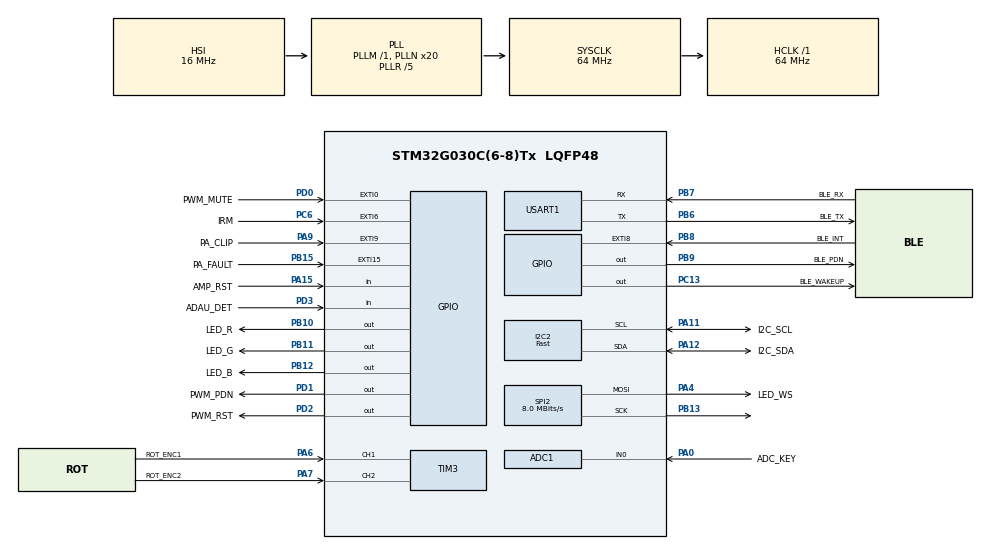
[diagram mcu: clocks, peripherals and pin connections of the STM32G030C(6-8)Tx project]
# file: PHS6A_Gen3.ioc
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ADC1.Channel-0\#ChannelRegularConversion=ADC_CHANNEL_0
ADC1.ContinuousConvMode=ENABLE
ADC1.NbrOfConversionFlag=1
ADC1.Rank-0\#ChannelRegularConversion=1
ADC1.SamplingTime-0\#ChannelRegularConversion=ADC_SAMPLINGTIME_COMMON_1
ADC1.SelectedChannel=ADC_CHANNEL_0
ADC1.master=1
Dma.Request0=SPI2_TX
Dma.SPI2_TX.0.Direction=DMA_MEMORY_TO_PERIPH
Dma.SPI2_TX.0.EventEnable=DISABLE
Dma.SPI2_TX.0.Instance=DMA1_Channel1
Dma.SPI2_TX.0.MemDataAlignment=DMA_MDATAALIGN_BYTE
Dma.SPI2_TX.0.MemInc=DMA_MINC_ENABLE
Dma.SPI2_TX.0.Mode=DMA_NORMAL
Dma.SPI2_TX.0.PeriphDataAlignment=DMA_PDATAALIGN_BYTE
Dma.SPI2_TX.0.PeriphInc=DMA_PINC_DISABLE
Dma.SPI2_TX.0.Polarity=HAL_DMAMUX_REQ_GEN_RISING
Dma.SPI2_TX.0.Priority=DMA_PRIORITY_LOW
Dma.SPI2_TX.0.RequestNumber=1
Dma.SPI2_TX.0.SignalID=NONE
Dma.SPI2_TX.0.SyncEnable=DISABLE
Dma.SPI2_TX.0.SyncPolarity=HAL_DMAMUX_SYNC_NO_EVENT
Dma.SPI2_TX.0.SyncRequestNumber=1
Dma.SPI2_TX.0.SyncSignalID=NONE
I2C2.I2C_Speed_Mode=I2C_Fast
I2C2.Speed=300
I2C2.Timing=0x006021A8
Mcu.Family=STM32G0
Mcu.Name=STM32G030C(6-8)Tx
Mcu.Package=LQFP48
NVIC.DMA1_Channel1_IRQn=true\:0\:0\:false\:false\:true\:false\:true\:true
NVIC.EXTI4_15_IRQn=true\:0\:0\:false\:false\:true\:true\:true\:true
NVIC.TIM1_BRK_UP_TRG_COM_IRQn=true\:0\:0\:false\:false\:true\:true\:true\:true
NVIC.TIM3_IRQn=true\:0\:0\:false\:false\:true\:true\:true\:true
NVIC.USART1_IRQn=true\:0\:0\:false\:false\:true\:true\:true\:true
PA0.GPIO_Label=ADC_KEY
PA0.Mode=IN0
PA0.Signal=ADC1_IN0
PA11\ [PA9].GPIO_Label=I2C_SCL
PA11\ [PA9].Mode=I2C
PA11\ [PA9].Signal=I2C2_SCL
PA12\ [PA10].GPIO_Label=I2C_SDA
PA12\ [PA10].Mode=I2C
PA12\ [PA10].Signal=I2C2_SDA
PA13.Mode=Serial_Wire
PA13.Signal=SYS_SWDIO
PA14-BOOT0.Mode=Serial_Wire
PA14-BOOT0.Signal=SYS_SWCLK
PA15.GPIO_Label=AMP_RST
PA15.Signal=GPIO_Input
PA4.GPIO_Label=LED_WS
PA4.Mode=TX_Only_Simplex_Unidirect_Master
PA4.Signal=SPI2_MOSI
PA6.GPIO_Label=ROT_ENC1
PA6.Signal=S_TIM3_CH1
PA7.GPIO_Label=ROT_ENC2
PA7.Signal=S_TIM3_CH2
PA9.GPIO_Label=PA_CLIP
PA9.Signal=GPXTI9
PB10.GPIO_Label=LED_R
PB10.Signal=GPIO_Output
PB11.GPIO_Label=LED_G
PB11.Signal=GPIO_Output
PB12.GPIO_Label=LED_B
PB12.Signal=GPIO_Output
PB13.Mode=TX_Only_Simplex_Unidirect_Master
PB13.Signal=SPI2_SCK
PB15.GPIO_Label=PA_FAULT
PB15.Signal=GPXTI15
PB6.GPIO_Label=BLE_TX
PB6.Mode=Asynchronous
PB6.Signal=USART1_TX
PB7.GPIO_Label=BLE_RX
PB7.Mode=Asynchronous
PB7.Signal=USART1_RX
PB8.GPIO_Label=BLE_INT
PB8.Signal=GPXTI8
PB9.GPIO_Label=BLE_PDN
PB9.Signal=GPIO_Output
PC13.GPIO_Label=BLE_WAKEUP
PC13.Signal=GPIO_Output
PC6.GPIO_Label=IRM
PC6.GPIO_ModeDefaultEXTI=GPIO_MODE_IT_FALLING
PC6.Signal=GPXTI6
PD0.GPIO_Label=PWM_MUTE
PD0.Signal=GPXTI0
PD1.GPIO_Label=PWM_PDN
PD1.Signal=GPIO_Output
PD2.GPIO_Label=PWM_RST
PD2.Signal=GPIO_Output
PD3.GPIO_Label=ADAU_DET
PD3.Signal=GPIO_Input
ProjectManager.HeapSize=0x200
ProjectManager.StackSize=0x400
ProjectManager.TargetToolchain=MDK-ARM V5
RCC.ADCFreq_Value=64000000
RCC.AHBFreq_Value=64000000
RCC.CortexFreq_Value=64000000
RCC.EXTERNAL_CLOCK_VALUE=12288000
RCC.HCLKFreq_Value=64000000
RCC.HSE_VALUE=8000000
RCC.HSI_VALUE=16000000
RCC.LSE_VALUE=32768
RCC.PLLN=20
RCC.PLLR=RCC_PLLR_DIV5
RCC.SYSCLKFreq_VALUE=64000000
RCC.SYSCLKSource=RCC_SYSCLKSOURCE_PLLCLK
RCC.VCOOutputFreq_Value=320000000
SH.S_TIM3_CH1.0=TIM3_CH1,Encoder_Interface
SH.S_TIM3_CH2.0=TIM3_CH2,Encoder_Interface
SPI2.BaudRatePrescaler=SPI_BAUDRATEPRESCALER_8
SPI2.CLKPolarity=SPI_POLARITY_HIGH
SPI2.CalculateBaudRate=8.0 MBits/s
SPI2.Direction=SPI_DIRECTION_2LINES
SPI2.Mode=SPI_MODE_MASTER
SPI2.VirtualType=VM_MASTER
TIM1.Period=19999
TIM1.Prescaler=31
TIM16.Prescaler=63
TIM3.EncoderMode=TIM_ENCODERMODE_TI12
TIM3.IC2Polarity=TIM_ICPOLARITY_FALLING
USART1.VirtualMode-Asynchronous=VM_ASYNC
VP_TIM16_VS_ClockSourceINT.Mode=Enable_Timer
VP_TIM1_VS_ClockSourceINT.Mode=Internal
board=custom

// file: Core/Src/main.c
/* USER CODE BEGIN Header */
/**
  ******************************************************************************
  * @file           : main.c
  * @brief          : Main program body
  ******************************************************************************
  * @attention
  *
  * Copyright (c) 2024 STMicroelectronics.
  * All rights reserved.
  *
  * This software is licensed under terms that can be found in the LICENSE file
  * in the root directory of this software component.
  * If no LICENSE file comes with this software, it is provided AS-IS.
  *
  ******************************************************************************
  */
/* USER CODE END Header */
#include "main.h"

/* USER CODE BEGIN Includes */
#include "type.h"
#include "system.h"
#include "input_process.h"
#include "bt4502.h"
#include "remote.h"
/* USER CODE END Includes */

ADC_HandleTypeDef hadc1;

I2C_HandleTypeDef hi2c2;

SPI_HandleTypeDef hspi2;
DMA_HandleTypeDef hdma_spi2_tx;

TIM_HandleTypeDef htim1;
TIM_HandleTypeDef htim3;
TIM_HandleTypeDef htim16;

UART_HandleTypeDef huart1;

void SystemClock_Config(void);
static void MX_GPIO_Init(void);
static void MX_DMA_Init(void);
static void MX_SPI2_Init(void);
static void MX_TIM3_Init(void);
static void MX_TIM16_Init(void);
static void MX_ADC1_Init(void);
static void MX_I2C2_Init(void);
static void MX_USART1_UART_Init(void);
static void MX_TIM1_Init(void);

/* USER CODE BEGIN 0 */
extern uint8_t	bSystem_tasktick;
bool ledOnOff = 0;
uint8_t counterQ = 0;

/* USER CODE END 0 */

int main(void)
{

  /* MCU Configuration--------------------------------------------------------*/

  /* Reset of all peripherals, Initializes the Flash interface and the Systick. */
  HAL_Init();

  /* Configure the system clock */
  SystemClock_Config();

  /* Initialize all configured peripherals */
  MX_GPIO_Init();
  MX_DMA_Init();
  MX_SPI2_Init();
  MX_TIM3_Init();
  MX_TIM16_Init();
  MX_ADC1_Init();
  MX_I2C2_Init();
  MX_USART1_UART_Init();
  MX_TIM1_Init();

  /* Infinite loop */
  /* USER CODE BEGIN WHILE */
  bSystem_tasktick = MCUTICK_MS(20);
  while (1)
  {
    system_main();
    /* USER CODE END WHILE */

  }
}

void SystemClock_Config(void)
{
  RCC_OscInitTypeDef RCC_OscInitStruct = {0};
  RCC_ClkInitTypeDef RCC_ClkInitStruct = {0};

  /** Configure the main internal regulator output voltage
  */
  HAL_PWREx_ControlVoltageScaling(PWR_REGULATOR_VOLTAGE_SCALE1);

  /** Initializes the RCC Oscillators according to the specified parameters
  * in the RCC_OscInitTypeDef structure.
  */
  RCC_OscInitStruct.OscillatorType = RCC_OSCILLATORTYPE_HSI;
  RCC_OscInitStruct.HSIState = RCC_HSI_ON;
  RCC_OscInitStruct.HSIDiv = RCC_HSI_DIV1;
  RCC_OscInitStruct.HSICalibrationValue = RCC_HSICALIBRATION_DEFAULT;
  RCC_OscInitStruct.PLL.PLLState = RCC_PLL_ON;
  RCC_OscInitStruct.PLL.PLLSource = RCC_PLLSOURCE_HSI;
  RCC_OscInitStruct.PLL.PLLM = RCC_PLLM_DIV1;
  RCC_OscInitStruct.PLL.PLLN = 20;
  RCC_OscInitStruct.PLL.PLLP = RCC_PLLP_DIV2;
  RCC_OscInitStruct.PLL.PLLR = RCC_PLLR_DIV5;
  if (HAL_RCC_OscConfig(&RCC_OscInitStruct) != HAL_OK)
  {
    Error_Handler();
  }

  /** Initializes the CPU, AHB and APB buses clocks
  */
  RCC_ClkInitStruct.ClockType = RCC_CLOCKTYPE_HCLK|RCC_CLOCKTYPE_SYSCLK
                              |RCC_CLOCKTYPE_PCLK1;
  RCC_ClkInitStruct.SYSCLKSource = RCC_SYSCLKSOURCE_PLLCLK;
  RCC_ClkInitStruct.AHBCLKDivider = RCC_SYSCLK_DIV1;
  RCC_ClkInitStruct.APB1CLKDivider = RCC_HCLK_DIV1;

  if (HAL_RCC_ClockConfig(&RCC_ClkInitStruct, FLASH_LATENCY_2) != HAL_OK)
  {
    Error_Handler();
  }
}

static void MX_ADC1_Init(void)
{

  ADC_ChannelConfTypeDef sConfig = {0};

  /** Configure the global features of the ADC (Clock, Resolution, Data Alignment and number of conversion)
  */
  hadc1.Instance = ADC1;
  hadc1.Init.ClockPrescaler = ADC_CLOCK_SYNC_PCLK_DIV2;
  hadc1.Init.Resolution = ADC_RESOLUTION_12B;
  hadc1.Init.DataAlign = ADC_DATAALIGN_RIGHT;
  hadc1.Init.ScanConvMode = ADC_SCAN_DISABLE;
  hadc1.Init.EOCSelection = ADC_EOC_SINGLE_CONV;
  hadc1.Init.LowPowerAutoWait = DISABLE;
  hadc1.Init.LowPowerAutoPowerOff = DISABLE;
  hadc1.Init.ContinuousConvMode = ENABLE;
  hadc1.Init.NbrOfConversion = 1;
  hadc1.Init.ExternalTrigConv = ADC_SOFTWARE_START;
  hadc1.Init.ExternalTrigConvEdge = ADC_EXTERNALTRIGCONVEDGE_NONE;
  hadc1.Init.DMAContinuousRequests = DISABLE;
  hadc1.Init.Overrun = ADC_OVR_DATA_PRESERVED;
  hadc1.Init.SamplingTimeCommon1 = ADC_SAMPLETIME_1CYCLE_5;
  hadc1.Init.SamplingTimeCommon2 = ADC_SAMPLETIME_1CYCLE_5;
  hadc1.Init.OversamplingMode = DISABLE;
  hadc1.Init.TriggerFrequencyMode = ADC_TRIGGER_FREQ_HIGH;
  if (HAL_ADC_Init(&hadc1) != HAL_OK)
  {
    Error_Handler();
  }

  /** Configure Regular Channel
  */
  sConfig.Channel = ADC_CHANNEL_0;
  sConfig.Rank = ADC_REGULAR_RANK_1;
  sConfig.SamplingTime = ADC_SAMPLINGTIME_COMMON_1;
  if (HAL_ADC_ConfigChannel(&hadc1, &sConfig) != HAL_OK)
  {
    Error_Handler();
  }

}

static void MX_I2C2_Init(void)
{

  hi2c2.Instance = I2C2;
  hi2c2.Init.Timing = 0x006021A8;
  hi2c2.Init.OwnAddress1 = 0;
  hi2c2.Init.AddressingMode = I2C_ADDRESSINGMODE_7BIT;
  hi2c2.Init.DualAddressMode = I2C_DUALADDRESS_DISABLE;
  hi2c2.Init.OwnAddress2 = 0;
  hi2c2.Init.OwnAddress2Masks = I2C_OA2_NOMASK;
  hi2c2.Init.GeneralCallMode = I2C_GENERALCALL_DISABLE;
  hi2c2.Init.NoStretchMode = I2C_NOSTRETCH_DISABLE;
  if (HAL_I2C_Init(&hi2c2) != HAL_OK)
  {
    Error_Handler();
  }

  /** Configure Analogue filter
  */
  if (HAL_I2CEx_ConfigAnalogFilter(&hi2c2, I2C_ANALOGFILTER_ENABLE) != HAL_OK)
  {
    Error_Handler();
  }

  /** Configure Digital filter
  */
  if (HAL_I2CEx_ConfigDigitalFilter(&hi2c2, 0) != HAL_OK)
  {
    Error_Handler();
  }

}

static void MX_SPI2_Init(void)
{

  /* SPI2 parameter configuration*/
  hspi2.Instance = SPI2;
  hspi2.Init.Mode = SPI_MODE_MASTER;
  hspi2.Init.Direction = SPI_DIRECTION_2LINES;
  hspi2.Init.DataSize = SPI_DATASIZE_8BIT;
  hspi2.Init.CLKPolarity = SPI_POLARITY_HIGH;
  hspi2.Init.CLKPhase = SPI_PHASE_1EDGE;
  hspi2.Init.NSS = SPI_NSS_SOFT;
  hspi2.Init.BaudRatePrescaler = SPI_BAUDRATEPRESCALER_8;
  hspi2.Init.FirstBit = SPI_FIRSTBIT_MSB;
  hspi2.Init.TIMode = SPI_TIMODE_DISABLE;
  hspi2.Init.CRCCalculation = SPI_CRCCALCULATION_DISABLE;
  hspi2.Init.CRCPolynomial = 7;
  hspi2.Init.CRCLength = SPI_CRC_LENGTH_DATASIZE;
  hspi2.Init.NSSPMode = SPI_NSS_PULSE_ENABLE;
  if (HAL_SPI_Init(&hspi2) != HAL_OK)
  {
    Error_Handler();
  }

}

static void MX_TIM1_Init(void)
{

  TIM_ClockConfigTypeDef sClockSourceConfig = {0};
  TIM_MasterConfigTypeDef sMasterConfig = {0};

  htim1.Instance = TIM1;
  htim1.Init.Prescaler = 31;
  htim1.Init.CounterMode = TIM_COUNTERMODE_UP;
  htim1.Init.Period = 19999;
  htim1.Init.ClockDivision = TIM_CLOCKDIVISION_DIV1;
  htim1.Init.RepetitionCounter = 0;
  htim1.Init.AutoReloadPreload = TIM_AUTORELOAD_PRELOAD_DISABLE;
  if (HAL_TIM_Base_Init(&htim1) != HAL_OK)
  {
    Error_Handler();
  }
  sClockSourceConfig.ClockSource = TIM_CLOCKSOURCE_INTERNAL;
  if (HAL_TIM_ConfigClockSource(&htim1, &sClockSourceConfig) != HAL_OK)
  {
    Error_Handler();
  }
  sMasterConfig.MasterOutputTrigger = TIM_TRGO_RESET;
  sMasterConfig.MasterOutputTrigger2 = TIM_TRGO2_RESET;
  sMasterConfig.MasterSlaveMode = TIM_MASTERSLAVEMODE_DISABLE;
  if (HAL_TIMEx_MasterConfigSynchronization(&htim1, &sMasterConfig) != HAL_OK)
  {
    Error_Handler();
  }
  /* USER CODE BEGIN TIM1_Init 2 */
	HAL_NVIC_SetPriority(TIM1_BRK_UP_TRG_COM_IRQn, 1, 0);
	HAL_NVIC_EnableIRQ(TIM1_BRK_UP_TRG_COM_IRQn);

	HAL_TIM_Base_Start_IT(&htim1);

  /* USER CODE END TIM1_Init 2 */

}

static void MX_TIM3_Init(void)
{

  TIM_Encoder_InitTypeDef sConfig = {0};
  TIM_MasterConfigTypeDef sMasterConfig = {0};

  htim3.Instance = TIM3;
  htim3.Init.Prescaler = 0;
  htim3.Init.CounterMode = TIM_COUNTERMODE_UP;
  htim3.Init.Period = 65535;
  htim3.Init.ClockDivision = TIM_CLOCKDIVISION_DIV1;
  htim3.Init.AutoReloadPreload = TIM_AUTORELOAD_PRELOAD_DISABLE;
  sConfig.EncoderMode = TIM_ENCODERMODE_TI12;
  sConfig.IC1Polarity = TIM_ICPOLARITY_RISING;
  sConfig.IC1Selection = TIM_ICSELECTION_DIRECTTI;
  sConfig.IC1Prescaler = TIM_ICPSC_DIV1;
  sConfig.IC1Filter = 0;
  sConfig.IC2Polarity = TIM_ICPOLARITY_FALLING;
  sConfig.IC2Selection = TIM_ICSELECTION_DIRECTTI;
  sConfig.IC2Prescaler = TIM_ICPSC_DIV1;
  sConfig.IC2Filter = 0;
  if (HAL_TIM_Encoder_Init(&htim3, &sConfig) != HAL_OK)
  {
    Error_Handler();
  }
  sMasterConfig.MasterOutputTrigger = TIM_TRGO_RESET;
  sMasterConfig.MasterSlaveMode = TIM_MASTERSLAVEMODE_DISABLE;
  if (HAL_TIMEx_MasterConfigSynchronization(&htim3, &sMasterConfig) != HAL_OK)
  {
    Error_Handler();
  }

}

static void MX_TIM16_Init(void)
{

  htim16.Instance = TIM16;
  htim16.Init.Prescaler = 63;
  htim16.Init.CounterMode = TIM_COUNTERMODE_UP;
  htim16.Init.Period = 65535;
  htim16.Init.ClockDivision = TIM_CLOCKDIVISION_DIV1;
  htim16.Init.RepetitionCounter = 0;
  htim16.Init.AutoReloadPreload = TIM_AUTORELOAD_PRELOAD_DISABLE;
  if (HAL_TIM_Base_Init(&htim16) != HAL_OK)
  {
    Error_Handler();
  }

}

static void MX_USART1_UART_Init(void)
{

  huart1.Instance = USART1;
  huart1.Init.BaudRate = 115200;
  huart1.Init.WordLength = UART_WORDLENGTH_8B;
  huart1.Init.StopBits = UART_STOPBITS_1;
  huart1.Init.Parity = UART_PARITY_NONE;
  huart1.Init.Mode = UART_MODE_TX_RX;
  huart1.Init.HwFlowCtl = UART_HWCONTROL_NONE;
  huart1.Init.OverSampling = UART_OVERSAMPLING_16;
  huart1.Init.OneBitSampling = UART_ONE_BIT_SAMPLE_DISABLE;
  huart1.Init.ClockPrescaler = UART_PRESCALER_DIV1;
  huart1.AdvancedInit.AdvFeatureInit = UART_ADVFEATURE_NO_INIT;
  if (HAL_UART_Init(&huart1) != HAL_OK)
  {
    Error_Handler();
  }
  if (HAL_UARTEx_SetTxFifoThreshold(&huart1, UART_TXFIFO_THRESHOLD_1_8) != HAL_OK)
  {
    Error_Handler();
  }
  if (HAL_UARTEx_SetRxFifoThreshold(&huart1, UART_RXFIFO_THRESHOLD_1_8) != HAL_OK)
  {
    Error_Handler();
  }
  if (HAL_UARTEx_DisableFifoMode(&huart1) != HAL_OK)
  {
    Error_Handler();
  }

}

static void MX_DMA_Init(void)
{

  /* DMA controller clock enable */
  __HAL_RCC_DMA1_CLK_ENABLE();

  /* DMA interrupt init */
  /* DMA1_Channel1_IRQn interrupt configuration */
  HAL_NVIC_SetPriority(DMA1_Channel1_IRQn, 0, 0);
  HAL_NVIC_EnableIRQ(DMA1_Channel1_IRQn);

}

static void MX_GPIO_Init(void)
{
  GPIO_InitTypeDef GPIO_InitStruct = {0};

  /* GPIO Ports Clock Enable */
  __HAL_RCC_GPIOC_CLK_ENABLE();
  __HAL_RCC_GPIOA_CLK_ENABLE();
  __HAL_RCC_GPIOB_CLK_ENABLE();
  __HAL_RCC_GPIOD_CLK_ENABLE();

  /*Configure GPIO pin Output Level */
  HAL_GPIO_WritePin(BLE_WAKEUP_GPIO_Port, BLE_WAKEUP_Pin, GPIO_PIN_RESET);

  /*Configure GPIO pin Output Level */
  HAL_GPIO_WritePin(GPIOB, LED_R_Pin|LED_G_Pin|LED_B_Pin|BLE_PDN_Pin, GPIO_PIN_RESET);

  /*Configure GPIO pin Output Level */
  HAL_GPIO_WritePin(GPIOD, PWM_PDN_Pin|PWM_RST_Pin, GPIO_PIN_RESET);

  /*Configure GPIO pin : BLE_WAKEUP_Pin */
  GPIO_InitStruct.Pin = BLE_WAKEUP_Pin;
  GPIO_InitStruct.Mode = GPIO_MODE_OUTPUT_PP;
  GPIO_InitStruct.Pull = GPIO_NOPULL;
  GPIO_InitStruct.Speed = GPIO_SPEED_FREQ_LOW;
  HAL_GPIO_Init(BLE_WAKEUP_GPIO_Port, &GPIO_InitStruct);

  /*Configure GPIO pins : LED_R_Pin LED_G_Pin LED_B_Pin BLE_PDN_Pin */
  GPIO_InitStruct.Pin = LED_R_Pin|LED_G_Pin|LED_B_Pin|BLE_PDN_Pin;
  GPIO_InitStruct.Mode = GPIO_MODE_OUTPUT_PP;
  GPIO_InitStruct.Pull = GPIO_NOPULL;
  GPIO_InitStruct.Speed = GPIO_SPEED_FREQ_LOW;
  HAL_GPIO_Init(GPIOB, &GPIO_InitStruct);

  /*Configure GPIO pins : PA_FAULT_Pin BLE_INT_Pin */
  GPIO_InitStruct.Pin = PA_FAULT_Pin|BLE_INT_Pin;
  GPIO_InitStruct.Mode = GPIO_MODE_IT_RISING;
  GPIO_InitStruct.Pull = GPIO_NOPULL;
  HAL_GPIO_Init(GPIOB, &GPIO_InitStruct);

  /*Configure GPIO pin : PA_CLIP_Pin */
  GPIO_InitStruct.Pin = PA_CLIP_Pin;
  GPIO_InitStruct.Mode = GPIO_MODE_IT_RISING;
  GPIO_InitStruct.Pull = GPIO_NOPULL;
  HAL_GPIO_Init(PA_CLIP_GPIO_Port, &GPIO_InitStruct);

  /*Configure GPIO pin : IRM_Pin */
  GPIO_InitStruct.Pin = IRM_Pin;
  GPIO_InitStruct.Mode = GPIO_MODE_IT_FALLING;
  GPIO_InitStruct.Pull = GPIO_NOPULL;
  HAL_GPIO_Init(IRM_GPIO_Port, &GPIO_InitStruct);

  /*Configure GPIO pin : AMP_RST_Pin */
  GPIO_InitStruct.Pin = AMP_RST_Pin;
  GPIO_InitStruct.Mode = GPIO_MODE_INPUT;
  GPIO_InitStruct.Pull = GPIO_NOPULL;
  HAL_GPIO_Init(AMP_RST_GPIO_Port, &GPIO_InitStruct);

  /*Configure GPIO pin : PWM_MUTE_Pin */
  GPIO_InitStruct.Pin = PWM_MUTE_Pin;
  GPIO_InitStruct.Mode = GPIO_MODE_OUTPUT_PP;
  GPIO_InitStruct.Pull = GPIO_NOPULL;
  HAL_GPIO_Init(PWM_MUTE_GPIO_Port, &GPIO_InitStruct);

  /*Configure GPIO pins : PWM_PDN_Pin PWM_RST_Pin */
  GPIO_InitStruct.Pin = PWM_PDN_Pin|PWM_RST_Pin;
  GPIO_InitStruct.Mode = GPIO_MODE_OUTPUT_PP;
  GPIO_InitStruct.Pull = GPIO_NOPULL;
  GPIO_InitStruct.Speed = GPIO_SPEED_FREQ_LOW;
  HAL_GPIO_Init(GPIOD, &GPIO_InitStruct);

  /*Configure GPIO pin : ADAU_DET_Pin */
  GPIO_InitStruct.Pin = ADAU_DET_Pin;
  GPIO_InitStruct.Mode = GPIO_MODE_INPUT;
  GPIO_InitStruct.Pull = GPIO_NOPULL;
  HAL_GPIO_Init(ADAU_DET_GPIO_Port, &GPIO_InitStruct);

  /* EXTI interrupt init*/
  HAL_NVIC_SetPriority(EXTI4_15_IRQn, 0, 0);
  HAL_NVIC_EnableIRQ(EXTI4_15_IRQn);

/* USER CODE BEGIN MX_GPIO_Init_2 */
	HAL_GPIO_WritePin(PWM_RST_GPIO_Port, PWM_RST_Pin, GPIO_PIN_SET);
	HAL_GPIO_WritePin(PWM_PDN_GPIO_Port, PWM_PDN_Pin, GPIO_PIN_SET);
	HAL_GPIO_WritePin(PWM_MUTE_GPIO_Port, PWM_MUTE_Pin, GPIO_PIN_SET);
  HAL_GPIO_WritePin(BLE_PDN_GPIO_Port, BLE_PDN_Pin, GPIO_PIN_SET);
  HAL_GPIO_WritePin(BLE_WAKEUP_GPIO_Port, BLE_WAKEUP_Pin, GPIO_PIN_SET);
/* USER CODE END MX_GPIO_Init_2 */
}

/* USER CODE BEGIN 4 */
void HAL_GPIO_EXTI_Rising_Callback(uint16_t GPIO_Pin)
{
  if(GPIO_Pin == GPIO_PIN_8)
  {
    fBLE_wait_reply = 0;
  }
}
void HAL_GPIO_EXTI_Falling_Callback(uint16_t GPIO_Pin)
{
  if(GPIO_Pin == GPIO_PIN_6)
  {
    if (__HAL_TIM_GET_COUNTER(&htim16) > 8000)
    {
      bRemote_temp = 0;
      bBitIndex = 0;
      bAddrHigh = 0xFF;
      bAddrLow = 0xFF;
      bCmdHigh = 0xFF;
      bCmdLow = 0xFF;
    }
    else if (__HAL_TIM_GET_COUNTER(&htim16) > 1700)
    {
      bRemote_temp |= (1UL << (bBitIndex));   // write 1
      bBitIndex++;
    }
    else if (__HAL_TIM_GET_COUNTER(&htim16) > 1000)
    {
      bRemote_temp &= ~(1UL << (bBitIndex));  // write 0
      bBitIndex++;
    }
    if(bBitIndex == 32)
    {
      bAddrHigh = BYTE1(bRemote_temp);
      bAddrLow = BYTE0(bRemote_temp);
      bCmdHigh = BYTE3(bRemote_temp);
      bCmdLow = BYTE2(bRemote_temp);
			// if((bCmdHigh == ~bCmdLow) && (bAddrHigh == ~bAddrLow))
      if(bAddrLow == 0x91)
			{
        fRemote_pressed = 1;
			}
      else
      {
        bAddrHigh = 0xFF;
        bAddrLow = 0xFF;
        bCmdHigh = 0xFF;
        bCmdLow = 0xFF;
      }
      bBitIndex = 0;
    }
    __HAL_TIM_SET_COUNTER(&htim16, 0);
  }
}

void HAL_UART_RxCpltCallback(UART_HandleTypeDef *huart)
{
#ifdef USE_CIRCULAR_BUFF_EN
    MCUCircular_PutData(&BLE_CircularCtx, bBLE_recv_temp, 1);
#else   //USE_CIRCULAR_BUFF_EN
	 memcpy(bBLE_recv_buffer+bBLE_recv_len, bBLE_recv_temp, 1);

	 if((bBLE_recv_buffer[0] == 0x55) && (bBLE_recv_buffer[1] == 0xAA))
	 {
		 fBLE_SPP_Flag = 1;
		 fBLE_UART_Flag = 0;
	 }
	 else if((bBLE_recv_buffer[0] == 'T') && (bBLE_recv_buffer[1] == 'T') && (bBLE_recv_buffer[2] == 'M') && (bBLE_recv_buffer[3] == ':'))
	 {
		 fBLE_UART_Flag = 1;
		 fBLE_SPP_Flag = 0;
	 }
	bBLE_recv_len++;
	if(bBLE_recv_len == 0xFE) bBLE_recv_len = 0;
#endif  //USE_CIRCULAR_BUFF_EN
	HAL_UART_Receive_IT(&huart1, bBLE_recv_temp, 1);
}

void HAL_UART_ErrorCallback(UART_HandleTypeDef *huart)
{
	HAL_UART_Receive_IT(&huart1, &bBLE_recv_buffer[0],0xFF);
}

/* USER CODE END 4 */

void Error_Handler(void)
{
  __disable_irq();
  while (1)
  {
  }
}
